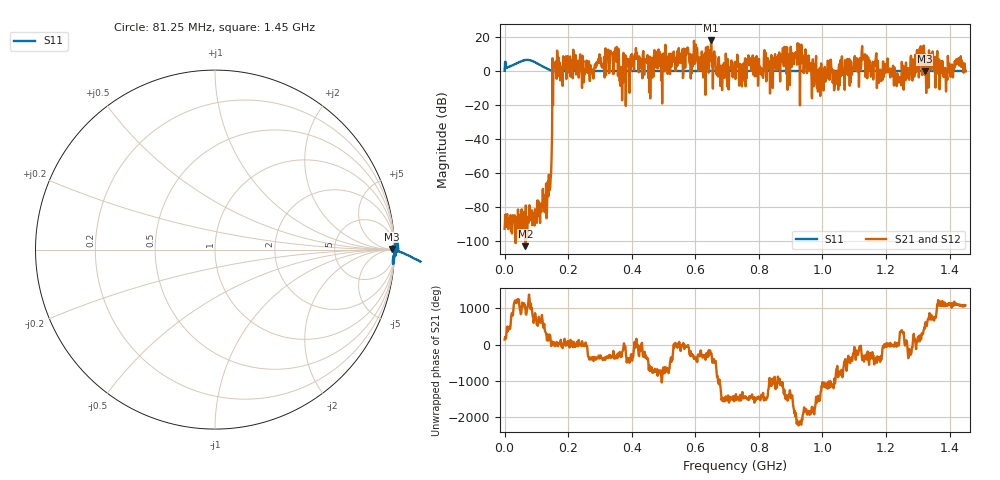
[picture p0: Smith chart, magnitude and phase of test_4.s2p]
! Created with skrf 1.11.0 (http://scikit-rf.org).
# Hz S RI R 50.0
!freq ReS11 ImS11 ReS21 ImS21 ReS12 ImS12 ReS22 ImS22
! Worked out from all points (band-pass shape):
!   1001 points, 50 kHz to 1.45 GHz, reference 50 ohm
!   highest |S21| = 17.97 dB at 649.6 MHz (marker M1); lowest = -102.8 dB at 65.3 MHz (marker M2)
!   |S21| within 3 dB of the highest: 506.0311 MHz to 506.149 MHz (117.8 kHz wide, 0.0233 % of centre); 595.6369 MHz to 596.6764 MHz (1.039 MHz wide, 0.174 % of centre) (the widest 2 of 7)
!   lowest |S11| = -0.1 dB at 1.322 GHz (marker M3), VSWR 127.38, Z = 6.17e+03 + j1.11e+03 ohm
!   |S11| at or under -10 dB: nowhere
!   |S22| runs from - to - dB; largest |S21 - S12| = 0
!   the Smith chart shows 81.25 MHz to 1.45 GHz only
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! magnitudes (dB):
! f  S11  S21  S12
! 50 kHz  0.2  -92.6  -92.6
! 65.3 MHz  6.5  -102.8  -102.8
! 139.2 MHz  0.9  -60.8  -60.8
! 155.2 MHz  0.0  3.4  3.4
! 161 MHz  0.0  5.6  5.6
! 242.2 MHz  0.1  4.8  4.8
! 350.9 MHz  0.1  5.5  5.5
! 368.3 MHz  0.1  1.6  1.6
! 407.5 MHz  0.0  0.6  0.6
! 484.3 MHz  0.0  12.7  12.7
! 649.6 MHz  0.1  18.0  18.0
! 725 MHz  0.1  5.4  5.4
! 836.7 MHz  0.2  1.9  1.9
! 919.3 MHz  0.0  11.1  11.1
! 967.2 MHz  0.1  -16.0  -16.0
! 1.024 GHz  0.0  6.2  6.2
! 1.043 GHz  0.0  -0.4  -0.4
! 1.127 GHz  0.0  7.0  7.0
! 1.209 GHz  0.0  1.6  1.6
! 1.241 GHz  0.1  -5.8  -5.8
! 1.322 GHz  -0.1  3.2  3.2
! 1.45 GHz  0.0  -0.2  -0.2
